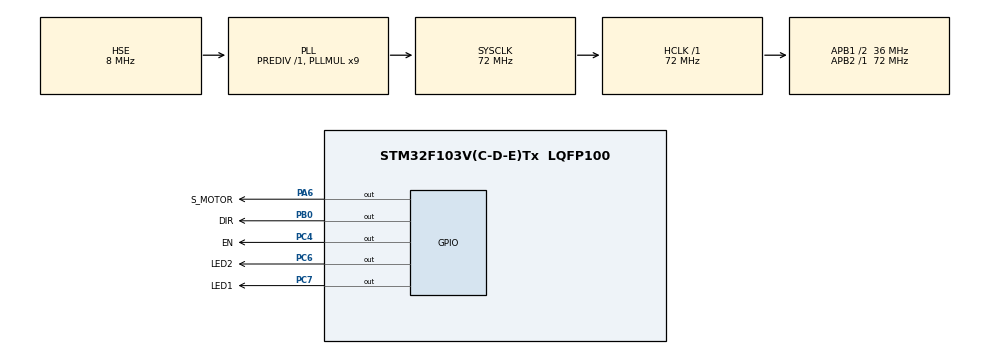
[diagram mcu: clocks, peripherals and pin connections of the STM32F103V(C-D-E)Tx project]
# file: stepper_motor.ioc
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Mcu.Family=STM32F1
Mcu.Name=STM32F103V(C-D-E)Tx
Mcu.Package=LQFP100
NVIC.PriorityGroup=NVIC_PRIORITYGROUP_4
NVIC.TIM1_UP_IRQn=true\:0\:0\:false\:false\:true\:true
OSC_IN.Mode=HSE-External-Oscillator
OSC_IN.Signal=RCC_OSC_IN
OSC_OUT.Mode=HSE-External-Oscillator
OSC_OUT.Signal=RCC_OSC_OUT
PA6.GPIO_Label=S_MOTOR
PA6.Signal=GPIO_Output
PB0.GPIO_Label=DIR
PB0.Signal=GPIO_Output
PC4.GPIO_Label=EN
PC4.Signal=GPIO_Output
PC6.GPIO_Label=LED2
PC6.Signal=GPIO_Output
PC7.GPIO_Label=LED1
PC7.Signal=GPIO_Output
ProjectManager.HeapSize=0x200
ProjectManager.StackSize=0x400
ProjectManager.TargetToolchain=MDK-ARM V5
RCC.AHBFreq_Value=72000000
RCC.APB1CLKDivider=RCC_HCLK_DIV2
RCC.APB1Freq_Value=36000000
RCC.APB1TimFreq_Value=72000000
RCC.APB2Freq_Value=72000000
RCC.APB2TimFreq_Value=72000000
RCC.HCLKFreq_Value=72000000
RCC.PLLMUL=RCC_PLL_MUL9
RCC.PLLSourceVirtual=RCC_PLLSOURCE_HSE
RCC.SYSCLKFreq_VALUE=72000000
RCC.SYSCLKSource=RCC_SYSCLKSOURCE_PLLCLK
RCC.USBFreq_Value=72000000
TIM1.Period=10
TIM1.Prescaler=36000-1
VP_SYS_VS_ND.Mode=No_Debug
VP_TIM1_VS_ClockSourceINT.Mode=Internal
board=custom

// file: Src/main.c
/**
  ******************************************************************************
  * @file           : main.c
  * @brief          : Main program body
  ******************************************************************************
  ** This notice applies to any and all portions of this file
  * that are not between comment pairs USER CODE BEGIN and
  * USER CODE END. Other portions of this file, whether
  * inserted by the user or by software development tools
  * are owned by their respective copyright owners.
  *
  * COPYRIGHT(c) 2018 STMicroelectronics
  *
  * Redistribution and use in source and binary forms, with or without modification,
  * are permitted provided that the following conditions are met:
  *   1. Redistributions of source code must retain the above copyright notice,
  *      this list of conditions and the following disclaimer.
  *   2. Redistributions in binary form must reproduce the above copyright notice,
  *      this list of conditions and the following disclaimer in the documentation
  *      and/or other materials provided with the distribution.
  *   3. Neither the name of STMicroelectronics nor the names of its contributors
  *      may be used to endorse or promote products derived from this software
  *      without specific prior written permission.
  *
  * THIS SOFTWARE IS PROVIDED BY THE COPYRIGHT HOLDERS AND CONTRIBUTORS "AS IS"
  * AND ANY EXPRESS OR IMPLIED WARRANTIES, INCLUDING, BUT NOT LIMITED TO, THE
  * IMPLIED WARRANTIES OF MERCHANTABILITY AND FITNESS FOR A PARTICULAR PURPOSE ARE
  * DISCLAIMED. IN NO EVENT SHALL THE COPYRIGHT HOLDER OR CONTRIBUTORS BE LIABLE
  * FOR ANY DIRECT, INDIRECT, INCIDENTAL, SPECIAL, EXEMPLARY, OR CONSEQUENTIAL
  * DAMAGES (INCLUDING, BUT NOT LIMITED TO, PROCUREMENT OF SUBSTITUTE GOODS OR
  * SERVICES; LOSS OF USE, DATA, OR PROFITS; OR BUSINESS INTERRUPTION) HOWEVER
  * CAUSED AND ON ANY THEORY OF LIABILITY, WHETHER IN CONTRACT, STRICT LIABILITY,
  * OR TORT (INCLUDING NEGLIGENCE OR OTHERWISE) ARISING IN ANY WAY OUT OF THE USE
  * OF THIS SOFTWARE, EVEN IF ADVISED OF THE POSSIBILITY OF SUCH DAMAGE.
  *
  ******************************************************************************
  */
#include "main.h"
#include "stm32f1xx_hal.h"
#include "tim.h"
#include "gpio.h"

/* USER CODE BEGIN Includes */
#include <stdbool.h>
/* USER CODE END Includes */

/* USER CODE BEGIN PV */
/* Private variables ---------------------------------------------------------*/
volatile unsigned int sMotorCnt = 0;
volatile bool sMotorStop = false;
/* USER CODE END PV */

void SystemClock_Config(void);

/* USER CODE BEGIN PFP */
/* Private function prototypes -----------------------------------------------*/

/* USER CODE END PFP */

/* USER CODE BEGIN 0 */

/*
	360 / 1.8' = 200
	360 / 0.9' = 400 (if motor driver assist 1/2 mocrostep)
*/
void HAL_TIM_PeriodElapsedCallback(TIM_HandleTypeDef *htim)
{
	if (htim->Instance == TIM1)
	{
		sMotorCnt++;
		if (sMotorCnt < 400) // 400 = 360' rotate
		{
			S_MOTOR_CTRL(GPIO_TOGGLE);
		}
		else
		{
			HAL_TIM_Base_Stop_IT(&htim1);

			S_MOTOR_CTRL(GPIO_LOW);
			//EN_CTRL(GPIO_LOW);	// motor holding or not
			sMotorStop = true;
		}
	}
}
/* USER CODE END 0 */

int main(void)
{

  /* MCU Configuration----------------------------------------------------------*/

  /* Reset of all peripherals, Initializes the Flash interface and the Systick. */
  HAL_Init();

  /* Configure the system clock */
  SystemClock_Config();

  /* Initialize all configured peripherals */
  MX_GPIO_Init();
  MX_TIM1_Init();
  /* USER CODE BEGIN 2 */

/*
	1) 72MHz System Clock, Prescaler 1MHz Timer Clock
			Prescaler = 72MHz / 36000 - 1 = 2KHz - 1 = 0.5ms
	2) 2KHz Timer Clock,
			Period = 10 => 5ms
*/

  /* USER CODE END 2 */

  /* Infinite loop */
  while (1)
  {

  /* USER CODE BEGIN 3 */
		S_MOTOR_CTRL(GPIO_LOW);
		DIR_CTRL(GPIO_HIGH);
		EN_CTRL(GPIO_HIGH);
		sMotorCnt = 0;
		sMotorStop = false;
		HAL_TIM_Base_Start_IT(&htim1);
		while(!sMotorStop) HAL_Delay(1);

		HAL_Delay(1000);

		S_MOTOR_CTRL(GPIO_LOW);
		DIR_CTRL(GPIO_LOW);
		EN_CTRL(GPIO_HIGH);
		sMotorCnt = 0;
		sMotorStop = false;
		HAL_TIM_Base_Start_IT(&htim1);
		while(!sMotorStop) HAL_Delay(1);

		HAL_Delay(1000);
  }
  /* USER CODE END 3 */

}

void SystemClock_Config(void)
{

  RCC_OscInitTypeDef RCC_OscInitStruct;
  RCC_ClkInitTypeDef RCC_ClkInitStruct;

    /**Initializes the CPU, AHB and APB busses clocks
    */
  RCC_OscInitStruct.OscillatorType = RCC_OSCILLATORTYPE_HSE;
  RCC_OscInitStruct.HSEState = RCC_HSE_ON;
  RCC_OscInitStruct.HSEPredivValue = RCC_HSE_PREDIV_DIV1;
  RCC_OscInitStruct.HSIState = RCC_HSI_ON;
  RCC_OscInitStruct.PLL.PLLState = RCC_PLL_ON;
  RCC_OscInitStruct.PLL.PLLSource = RCC_PLLSOURCE_HSE;
  RCC_OscInitStruct.PLL.PLLMUL = RCC_PLL_MUL9;
  if (HAL_RCC_OscConfig(&RCC_OscInitStruct) != HAL_OK)
  {
    _Error_Handler(__FILE__, __LINE__);
  }

    /**Initializes the CPU, AHB and APB busses clocks
    */
  RCC_ClkInitStruct.ClockType = RCC_CLOCKTYPE_HCLK|RCC_CLOCKTYPE_SYSCLK
                              |RCC_CLOCKTYPE_PCLK1|RCC_CLOCKTYPE_PCLK2;
  RCC_ClkInitStruct.SYSCLKSource = RCC_SYSCLKSOURCE_PLLCLK;
  RCC_ClkInitStruct.AHBCLKDivider = RCC_SYSCLK_DIV1;
  RCC_ClkInitStruct.APB1CLKDivider = RCC_HCLK_DIV2;
  RCC_ClkInitStruct.APB2CLKDivider = RCC_HCLK_DIV1;

  if (HAL_RCC_ClockConfig(&RCC_ClkInitStruct, FLASH_LATENCY_2) != HAL_OK)
  {
    _Error_Handler(__FILE__, __LINE__);
  }

    /**Configure the Systick interrupt time
    */
  HAL_SYSTICK_Config(HAL_RCC_GetHCLKFreq()/1000);

    /**Configure the Systick
    */
  HAL_SYSTICK_CLKSourceConfig(SYSTICK_CLKSOURCE_HCLK);

  /* SysTick_IRQn interrupt configuration */
  HAL_NVIC_SetPriority(SysTick_IRQn, 0, 0);
}

void _Error_Handler(char *file, int line)
{
  while(1)
  {
  }
}

/************************ (C) COPYRIGHT STMicroelectronics *****END OF FILE****/
